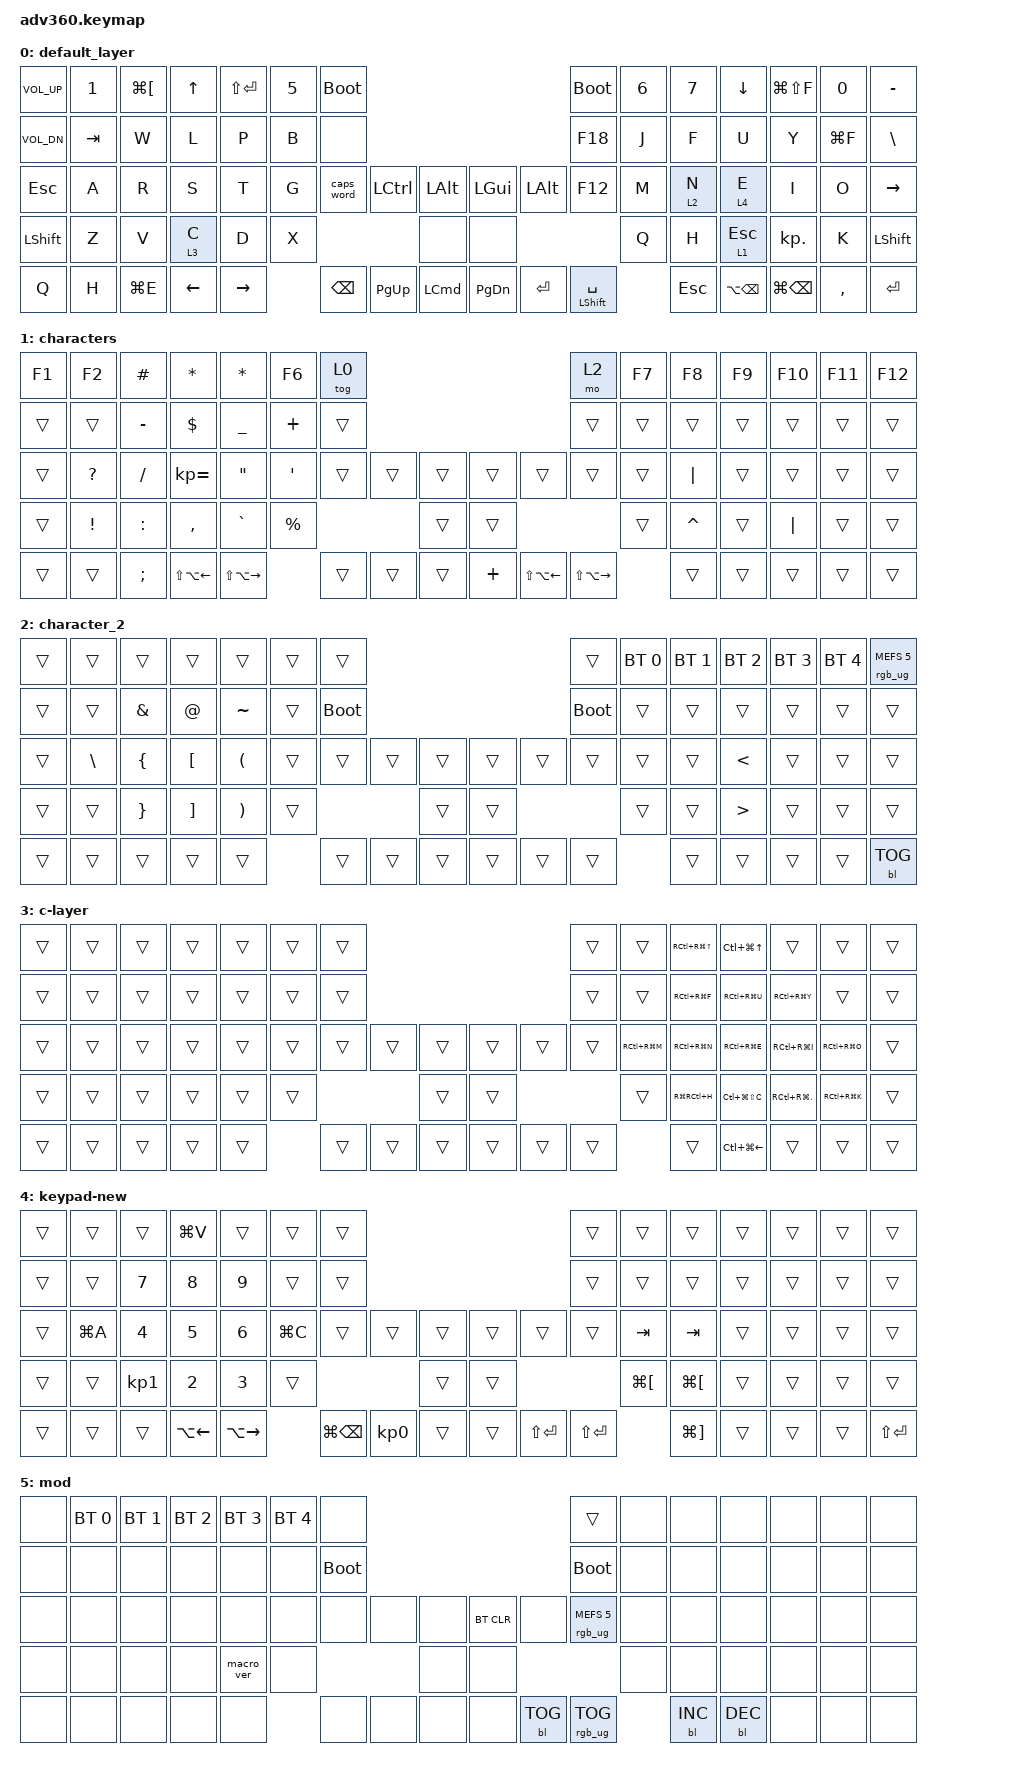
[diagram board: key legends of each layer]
#include <behaviors.dtsi>
#include <dt-bindings/zmk/backlight.h>
#include <dt-bindings/zmk/bt.h>
#include <dt-bindings/zmk/keys.h>
#include <dt-bindings/zmk/rgb.h>

/ {
    behaviors {
        #include "macros.dtsi"
      #include "version.dtsi"
      #ifndef VERSION_MACRO

        macro_ver: macro_ver {
            compatible = "zmk,behavior-macro";
            label = "macro_version";
            #binding-cells = <0>;
            bindings = <&kp RET>;
        };

        #endif

        hm: homerow_mods {
            compatible = "zmk,behavior-hold-tap";
            label = "HOMEROW_MODS";
            #binding-cells = <2>;
            tapping-term-ms = <200>;
            quick_tap_ms = <175>;
            flavor = "tap-preferred";
            bindings = <&kp>, <&kp>;
        };

        tlb: toggle_layer_balanced {
            compatible = "zmk,behavior-hold-tap";
            label = "TOGLE_LAYER_BALANCED";
            #binding-cells = <2>;
            tapping-term-ms = <200>;
            flavor = "balanced";
            bindings = <&mo>, <&kp>;
        };

        thb: tap_hold_balanced {
            compatible = "zmk,behavior-hold-tap";
            label = "THB";
            bindings = <&kp>, <&kp>;

            #binding-cells = <2>;
            tapping-term-ms = <200>;
            flavor = "balanced";
        };
    };

    macros {
    };

    keymap {
        compatible = "zmk,keymap";

        default_layer {
            bindings = <
&kp C_VOLUME_UP  &kp N1   &kp LG(LEFT_BRACKET)  &kp UP_ARROW    &kp LS(ENTER)  &kp N5  &bootloader                                                                    &bootloader            &kp N6  &kp N7      &kp DOWN           &kp LG(LS(F))      &kp N0     &kp MINUS
&kp C_VOL_DN     &kp TAB  &kp W                 &kp L           &kp P          &kp B   &none                                                                          &kp F18                &kp J   &kp F       &kp U              &kp Y              &kp LG(F)  &kp BSLH
&kp ESC          &kp A    &kp R                 &kp S           &kp T          &kp G   &caps_word     &kp LCTRL    &kp LALT              &kp LGUI       &kp LEFT_ALT  &kp F12                &kp M   &tlb 2 N    &tlb 4 E           &kp I              &kp O      &kp RIGHT
&kp LSHFT        &kp Z    &kp V                 &tlb 3 C        &kp D          &kp X                               &none                 &none                                               &kp Q   &kp H       &tlb 1 ESCAPE      &kp KP_DOT         &kp K      &kp LEFT_SHIFT
&kp Q            &kp H    &kp LG(E)             &kp LEFT_ARROW  &kp RIGHT              &kp BACKSPACE  &kp PAGE_UP  &kp LEFT_COMMAND      &kp PAGE_DOWN  &kp ENTER     &thb LEFT_SHIFT SPACE          &kp ESCAPE  &kp LA(BACKSPACE)  &kp LG(BACKSPACE)  &kp COMMA  &kp ENTER
            >;
        };

        characters {
            bindings = <
&kp F1  &kp F2           &kp HASH       &kp ASTERISK            &kp ASTRK          &kp F6            &tog 0                                                        &mo 2                    &kp F7  &kp F8     &kp F9  &kp F10   &kp F11  &kp F12
&trans  &trans           &kp MINUS      &kp DOLLAR              &kp UNDER          &kp PLUS          &trans                                                        &trans                   &trans  &trans     &trans  &trans    &trans   &trans
&trans  &kp QUESTION     &kp SLASH      &kp KP_EQUAL            &kp DOUBLE_QUOTES  &kp SINGLE_QUOTE  &trans  &trans  &trans      &trans    &trans                  &trans                   &trans  &kp PIPE   &trans  &trans    &trans   &trans
&trans  &kp EXCLAMATION  &kp COLON      &kp COMMA               &kp GRAVE          &kp PERCENT                       &trans      &trans                                                     &trans  &kp CARET  &trans  &kp PIPE  &trans   &trans
&trans  &trans           &kp SEMICOLON  &kp LS(LA(LEFT_ARROW))  &kp LS(LA(RIGHT))                    &trans  &trans  &trans      &kp PLUS  &kp LS(LA(LEFT_ARROW))  &kp LS(LA(RIGHT_ARROW))          &trans     &trans  &trans    &trans   &trans
            >;
        };

        character_2 {
            bindings = <
&trans  &trans         &trans           &trans             &trans                 &trans  &trans                                           &trans       &bt BT_SEL 0  &bt BT_SEL 1  &bt BT_SEL 2      &bt BT_SEL 3  &bt BT_SEL 4  &rgb_ug RGB_MEFS_CMD 5
&trans  &trans         &kp AMPERSAND    &kp AT_SIGN        &kp TILDE              &trans  &bootloader                                      &bootloader  &trans        &trans        &trans            &trans        &trans        &trans
&trans  &kp BACKSLASH  &kp LEFT_BRACE   &kp LEFT_BRACKET   &kp LEFT_PARENTHESIS   &trans  &trans       &trans  &trans      &trans  &trans  &trans       &trans        &trans        &kp LESS_THAN     &trans        &trans        &trans
&trans  &trans         &kp RIGHT_BRACE  &kp RIGHT_BRACKET  &kp RIGHT_PARENTHESIS  &trans                       &trans      &trans                       &trans        &trans        &kp GREATER_THAN  &trans        &trans        &trans
&trans  &trans         &trans           &trans             &trans                         &trans       &trans  &trans      &trans  &trans  &trans                     &trans        &trans            &trans        &trans        &bl BL_TOG
            >;
        };

        c-layer {
            bindings = <
&trans  &trans  &trans  &trans  &trans  &trans  &trans                                      &trans  &trans         &kp RC(RG(UP_ARROW))  &kp LC(LG(UP_ARROW))    &trans           &trans         &trans
&trans  &trans  &trans  &trans  &trans  &trans  &trans                                      &trans  &trans         &kp RC(RG(F))         &kp RC(RG(U))           &kp RC(RG(Y))    &trans         &trans
&trans  &trans  &trans  &trans  &trans  &trans  &trans  &trans  &trans      &trans  &trans  &trans  &kp RC(RG(M))  &kp RC(RG(N))         &kp RC(RG(E))           &kp RC(RG(I))    &kp RC(RG(O))  &trans
&trans  &trans  &trans  &trans  &trans  &trans                  &trans      &trans                  &trans         &kp RG(RC(H))         &kp LC(LG(LS(C)))       &kp RC(RG(DOT))  &kp RC(RG(K))  &trans
&trans  &trans  &trans  &trans  &trans          &trans  &trans  &trans      &trans  &trans  &trans                 &trans                &kp LC(LG(LEFT_ARROW))  &trans           &trans         &trans
            >;
        };

        keypad-new {
            bindings = <
&trans  &trans     &trans           &kp LG(V)           &trans               &trans     &trans                                                                 &trans         &trans                &trans                 &trans  &trans  &trans  &trans
&trans  &trans     &kp N7           &kp N8              &kp N9               &trans     &trans                                                                 &trans         &trans                &trans                 &trans  &trans  &trans  &trans
&trans  &kp LG(A)  &kp N4           &kp N5              &kp N6               &kp LG(C)  &trans             &trans           &trans      &trans  &trans         &trans         &kp TAB               &kp TAB                &trans  &trans  &trans  &trans
&trans  &trans     &kp KP_NUMBER_1  &kp N2              &kp N3               &trans                                         &trans      &trans                                &kp LG(LEFT_BRACKET)  &kp LG(LEFT_BRACKET)   &trans  &trans  &trans  &trans
&trans  &trans     &trans           &kp LA(LEFT_ARROW)  &kp LA(RIGHT_ARROW)             &kp LG(BACKSPACE)  &kp KP_NUMBER_0  &trans      &trans  &kp LS(ENTER)  &kp LS(ENTER)                        &kp LG(RIGHT_BRACKET)  &trans  &trans  &trans  &kp LS(ENTER)
            >;
        };

        mod {
            bindings = <
&none  &bt BT_SEL 0  &bt BT_SEL 1  &bt BT_SEL 2  &bt BT_SEL 3  &bt BT_SEL 4  &none                                                  &trans                  &none  &none       &none       &none  &none  &none
&none  &none         &none         &none         &none         &none         &bootloader                                            &bootloader             &none  &none       &none       &none  &none  &none
&none  &none         &none         &none         &none         &none         &none        &none  &none      &bt BT_CLR  &none       &rgb_ug RGB_MEFS_CMD 5  &none  &none       &none       &none  &none  &none
&none  &none         &none         &none         &macro_ver    &none                             &none      &none                                           &none  &none       &none       &none  &none  &none
&none  &none         &none         &none         &none                       &none        &none  &none      &none       &bl BL_TOG  &rgb_ug RGB_TOG                &bl BL_INC  &bl BL_DEC  &none  &none  &none
            >;
        };
    };
};
